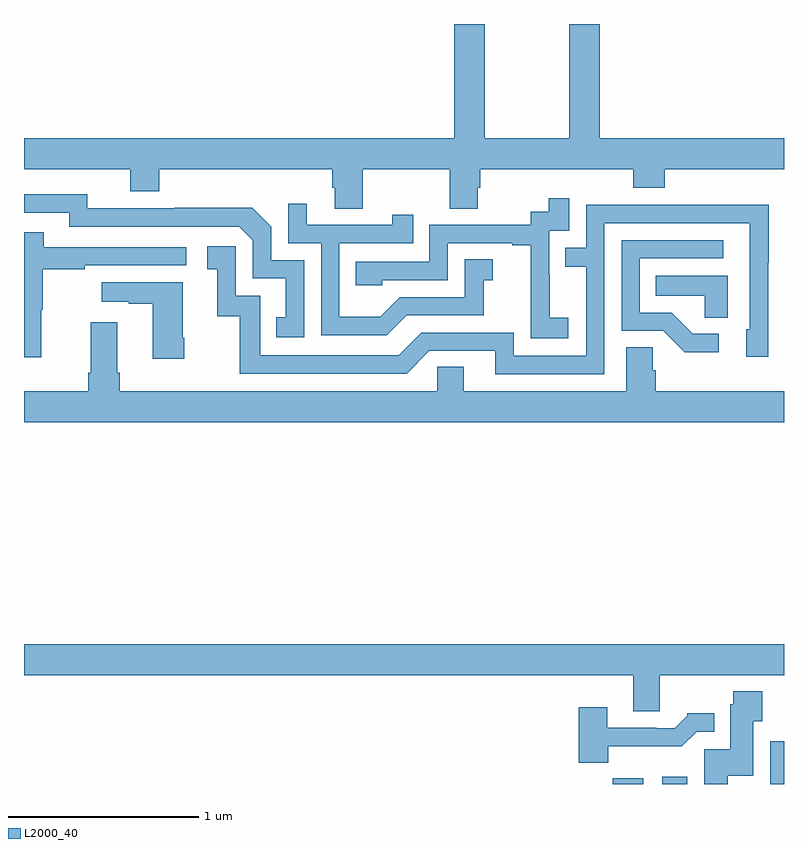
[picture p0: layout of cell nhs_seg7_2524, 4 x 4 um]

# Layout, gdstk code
import gdstk
lib = gdstk.Library(unit=1e-6, precision=1e-09)
def R(c, l, rs):  # rectangles x0, y0, x1, y1
    for r in rs: c.add(gdstk.rectangle(r[:2], r[2:], *l))
def P(c, l, *ps):  # polygons
    for p in ps: c.add(gdstk.Polygon(p, *l))
L2000_40 = (2000, 40)

nhs_seg7_2524 = lib.new_cell('nhs_seg7_2524')
R(nhs_seg7_2524, L2000_40, [(278.098,1044,278.26,1044.031), (278.36,1044,278.491,1044.037), (278.928,1044,279,1044.226)])
P(nhs_seg7_2524, L2000_40, [(276.783,1047.236),(277.24,1047.236),(277.24,1047.028),(277.387,1047.028),(277.387,1047.138),(277.4,1047.138),(277.4,1047.236),(278.207,1047.236),(278.207,1047.137),(278.372,1047.137),(278.372,1047.236),(279,1047.236),(279,1047.4),(278.03,1047.4),(278.03,1048),(277.87,1048),(277.87,1047.4),(277.425,1047.4),(277.425,1048),(277.265,1048),(277.265,1047.4),(275,1047.4),(275,1047.236),(275.558,1047.236),(275.558,1047.119),(275.711,1047.119),(275.711,1047.236),(276.623,1047.236),(276.623,1047.138),(276.635,1047.138),(276.635,1047.028),(276.783,1047.028)],
  [(276.474,1046.757),(276.3,1046.757),(276.3,1046.934),(276.202,1047.032),(275.794,1047.032),(275.794,1047.03),(275.334,1047.03),(275.334,1047.103),(275,1047.103),(275,1047.006),(275.238,1047.006),(275.238,1046.934),(276.132,1046.934),(276.204,1046.862),(276.204,1046.661),(276.377,1046.661),(276.377,1046.457),(276.328,1046.457),(276.328,1046.352),(276.474,1046.352)],
  [(277.864,1046.455),(277.766,1046.455),(277.766,1046.684),(277.764,1046.684),(277.764,1046.913),(277.869,1046.913),(277.869,1047.082),(277.761,1047.082),(277.761,1047.012),(277.668,1047.012),(277.668,1046.943),(277.134,1046.943),(277.134,1046.748),(276.745,1046.748),(276.745,1046.625),(276.885,1046.625),(276.885,1046.652),(277.23,1046.652),(277.23,1046.847),(277.571,1046.847),(277.571,1046.835),(277.667,1046.835),(277.667,1046.551),(277.666,1046.551),(277.666,1046.345),(277.864,1046.345)],
  [(277.015,1046.466),(277.419,1046.466),(277.419,1046.651),(277.468,1046.651),(277.468,1046.761),(277.32,1046.761),(277.32,1046.562),(276.978,1046.562),(276.874,1046.458),(276.66,1046.458),(276.66,1046.847),(277.049,1046.847),(277.049,1046.995),(276.938,1046.995),(276.938,1046.943),(276.487,1046.943),(276.487,1047.055),(276.39,1047.055),(276.39,1046.847),(276.564,1046.847),(276.564,1046.361),(276.91,1046.361)],
  [(278.055,1046.952),(278.82,1046.952),(278.82,1046.394),(278.801,1046.394),(278.801,1046.25),(278.916,1046.25),(278.916,1046.743),(278.919,1046.743),(278.919,1047.05),(278.455,1047.05),(278.455,1047.048),(277.959,1047.048),(277.959,1046.823),(277.849,1046.823),(277.849,1046.722),(277.959,1046.722),(277.959,1046.253),(277.578,1046.253),(277.578,1046.376),(277.092,1046.376),(276.972,1046.256),(276.243,1046.256),(276.243,1046.571),(276.114,1046.571),(276.114,1046.83),(275.964,1046.83),(275.964,1046.709),(276.017,1046.709),(276.017,1046.463),(276.135,1046.463),(276.135,1046.16),(277.014,1046.16),(277.134,1046.28),(277.481,1046.28),(277.481,1046.157),(278.055,1046.157)],
  [(275.09,1046.496),(275.098,1046.496),(275.098,1046.71),(275.321,1046.71),(275.321,1046.73),(275.854,1046.73),(275.854,1046.826),(275.105,1046.826),(275.105,1046.905),(275,1046.905),(275,1046.247),(275.09,1046.247)],
  [(278.656,1046.37),(278.521,1046.37),(278.41,1046.481),(278.241,1046.481),(278.241,1046.766),(278.68,1046.766),(278.68,1046.862),(278.145,1046.862),(278.145,1046.385),(278.364,1046.385),(278.477,1046.273),(278.656,1046.273)],
  [(278.704,1046.674),(278.326,1046.674),(278.326,1046.57),(278.583,1046.57),(278.583,1046.455),(278.704,1046.455)],
  [(275.844,1046.35),(275.836,1046.35),(275.836,1046.641),(275.409,1046.641),(275.409,1046.537),(275.552,1046.537),(275.552,1046.527),(275.678,1046.527),(275.678,1046.238),(275.844,1046.238)],
  [(279,1046.068),(278.324,1046.068),(278.324,1046.177),(278.31,1046.177),(278.31,1046.3),(278.171,1046.3),(278.171,1046.068),(277.315,1046.068),(277.315,1046.195),(277.176,1046.195),(277.176,1046.068),(275.504,1046.068),(275.504,1046.164),(275.491,1046.164),(275.491,1046.43),(275.351,1046.43),(275.351,1046.164),(275.339,1046.164),(275.339,1046.068),(275,1046.068),(275,1045.904),(279,1045.904)],
  [(278.347,1044.572),(279,1044.572),(279,1044.736),(275,1044.736),(275,1044.572),(278.207,1044.572),(278.207,1044.382),(278.347,1044.382)],
  [(278.704,1044.044),(278.839,1044.044),(278.839,1044.331),(278.886,1044.331),(278.886,1044.487),(278.734,1044.487),(278.734,1044.42),(278.717,1044.42),(278.717,1044.183),(278.579,1044.183),(278.579,1044),(278.704,1044)],
  [(278.074,1044.198),(278.463,1044.198),(278.541,1044.276),(278.632,1044.276),(278.632,1044.373),(278.49,1044.373),(278.49,1044.358),(278.426,1044.294),(278.327,1044.294),(278.327,1044.297),(278.071,1044.297),(278.071,1044.403),(277.919,1044.403),(277.919,1044.113),(278.074,1044.113)])

lib.write_gds('nhs_seg7_2524.gds')
